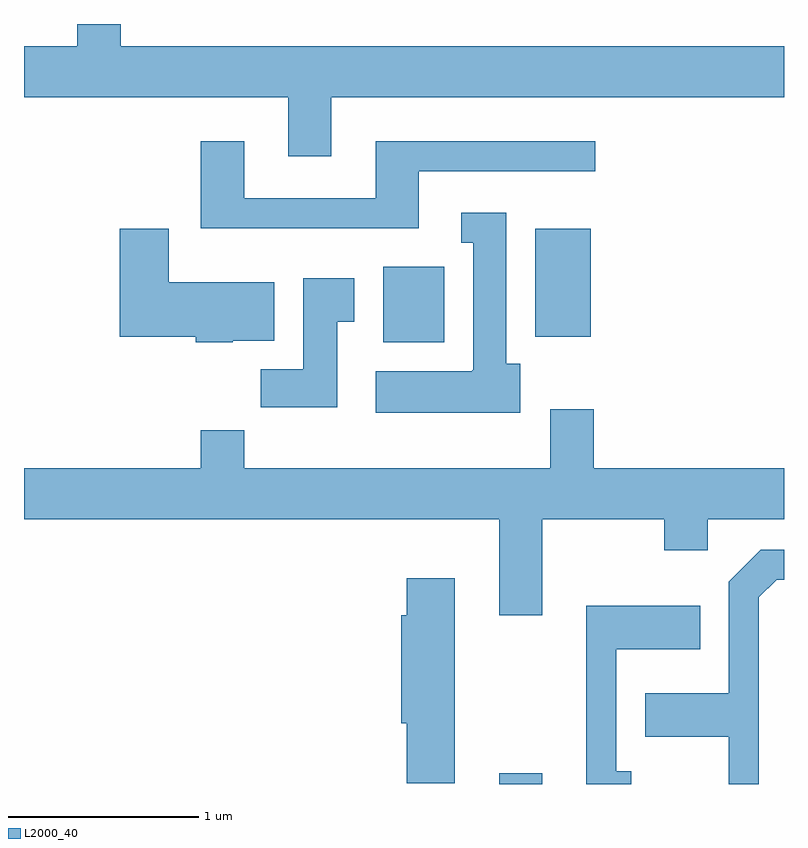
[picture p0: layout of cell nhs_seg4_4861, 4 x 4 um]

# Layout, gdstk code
import gdstk
lib = gdstk.Library(unit=1e-6, precision=1e-09)
def R(c, l, rs):  # rectangles x0, y0, x1, y1
    for r in rs: c.add(gdstk.rectangle(r[:2], r[2:], *l))
def P(c, l, *ps):  # polygons
    for p in ps: c.add(gdstk.Polygon(p, *l))
L2000_40 = (2000, 40)

nhs_seg4_4861 = lib.new_cell('nhs_seg4_4861')
R(nhs_seg4_4861, L2000_40, [(330.111,1319.982,330.339,1320.039), (329.501,1322.306,329.824,1322.704), (330.301,1322.336,330.594,1322.904)])
P(nhs_seg4_4861, L2000_40, [(329.229,1323.596),(331.611,1323.596),(331.611,1323.864),(328.119,1323.864),(328.119,1323.982),(327.891,1323.982),(327.891,1323.864),(327.611,1323.864),(327.611,1323.596),(329.001,1323.596),(329.001,1323.286),(329.229,1323.286)],
  [(329.689,1323.206),(330.618,1323.206),(330.618,1323.364),(329.461,1323.364),(329.461,1323.064),(328.769,1323.064),(328.769,1323.364),(328.541,1323.364),(328.541,1322.906),(329.689,1322.906)],
  [(330.224,1322.194),(330.149,1322.194),(330.149,1322.989),(329.913,1322.989),(329.913,1322.831),(329.976,1322.831),(329.976,1322.16),(329.97,1322.16),(329.97,1322.154),(329.461,1322.154),(329.461,1321.936),(330.224,1321.936)],
  [(328.71,1322.316),(328.929,1322.316),(328.929,1322.624),(328.374,1322.624),(328.374,1322.904),(328.116,1322.904),(328.116,1322.336),(328.516,1322.336),(328.516,1322.306),(328.71,1322.306)],
  [(329.259,1322.416),(329.349,1322.416),(329.349,1322.644),(329.081,1322.644),(329.081,1322.164),(328.856,1322.164),(328.856,1321.966),(329.259,1321.966)],
  [(330.339,1321.376),(330.981,1321.376),(330.981,1321.211),(331.209,1321.211),(331.209,1321.376),(331.611,1321.376),(331.611,1321.644),(330.609,1321.644),(330.609,1321.954),(330.381,1321.954),(330.381,1321.644),(328.769,1321.644),(328.769,1321.844),(328.541,1321.844),(328.541,1321.644),(327.611,1321.644),(327.611,1321.376),(330.111,1321.376),(330.111,1320.871),(330.339,1320.871)],
  [(331.479,1320.964),(331.572,1321.056),(331.611,1321.056),(331.611,1321.214),(331.489,1321.214),(331.321,1321.047),(331.321,1320.459),(330.881,1320.459),(330.881,1320.231),(331.321,1320.231),(331.321,1319.982),(331.479,1319.982)],
  [(329.879,1321.064),(329.626,1321.064),(329.626,1320.869),(329.596,1320.869),(329.596,1320.301),(329.626,1320.301),(329.626,1319.986),(329.879,1319.986)],
  [(330.808,1320.049),(330.729,1320.049),(330.729,1320.691),(331.169,1320.691),(331.169,1320.919),(330.571,1320.919),(330.571,1319.982),(330.808,1319.982)])

lib.write_gds('nhs_seg4_4861.gds')
